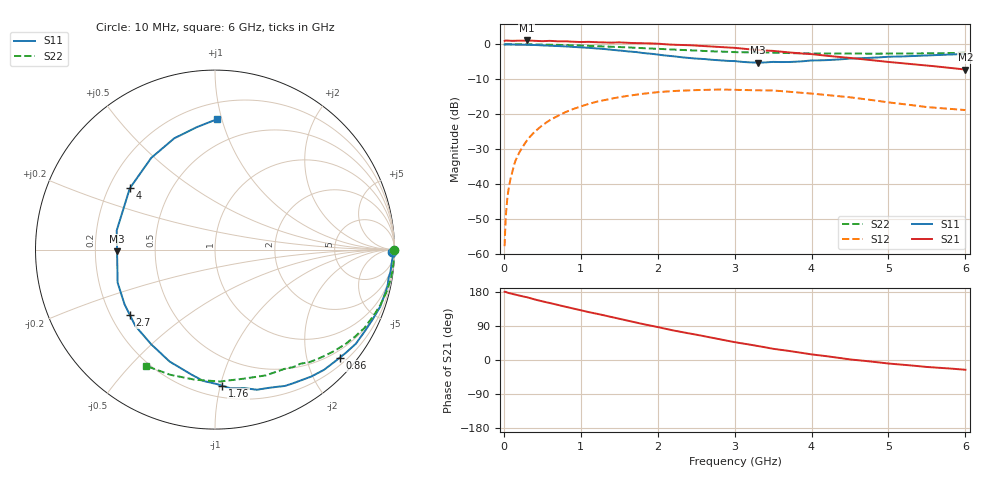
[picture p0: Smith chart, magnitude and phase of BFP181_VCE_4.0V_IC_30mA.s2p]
! Infineon Technologies  Discrete & RF Semiconductors
! BFP181
! VCE = 4.0 V,  IC =  30 mA
! Common Emitter S-Parameters:  Jan 2016
# GHz  S  MA  R  50
!  f  S11  S21  S12  S22
! GHz  MAG  ANG  MAG  ANG  MAG  ANG  MAG  ANG
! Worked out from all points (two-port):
!   210 points, 10 MHz to 6 GHz, reference 50 ohm
!   highest |S21| = 1.05 dB at 300 MHz (marker M1); lowest = -7.3 dB at 6 GHz (marker M2)
!   |S21| within 3 dB of the highest: start of sweep to 3.509 GHz
!   lowest |S11| = -5.3 dB at 3.3 GHz (marker M3), VSWR 3.40, Z = 14.7 - j0.399 ohm
!   |S11| at or under -10 dB: nowhere
!   |S22| runs from -2.7 to 0.0 dB; largest |S21 - S12| = 1.1
!   S11 on the Smith chart (normalised r, x): 10 MHz: open; 860 MHz: 0.34, -2.64; 1.76 GHz: 0.28, -1.01; 2.7 GHz: 0.28, -0.32; 4 GHz: 0.29, +0.30; 6 GHz: 0.31, +0.97
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0.01  0.9874 -0.7  1.116 179.8  0.0013 79.4  0.9998 -0.2
0.02  0.9861 -1.0  1.126 179.9  0.0026 92.1  0.9989 -0.5
0.04  0.9895 -1.9  1.125 178.2  0.0055 90.6  0.9988 -1.0
0.06  0.9902 -2.8  1.123 176.9  0.0083 88.4  0.9987 -1.4
0.085  0.9876 -3.9  1.117 175.7  0.0117 85.6  0.9988 -2.0
0.16  0.9845 -7.6  1.118 172.1  0.0228 83.9  0.9973 -3.8
0.3  0.9781 -14.4  1.129 165.7  0.042 79.2  0.9957 -7.1
0.54  0.9558 -25.7  1.107 152.9  0.0743 70.5  0.986 -12.8
0.86  0.9193 -41.0  1.089 137.7  0.1135 59.4  0.9658 -20.1
1.02  0.9001 -48.9  1.074 130.3  0.1309 54.1  0.9534 -23.5
1.3  0.8539 -62.8  1.061 118.0  0.1585 44.7  0.9289 -29.6
1.5  0.8148 -73.4  1.06 108.9  0.1745 38.7  0.908 -33.6
1.76  0.7595 -87.0  1.033 97.2  0.1925 31.1  0.8816 -38.5
2.02  0.7049 -101.5  1.012 86.0  0.207 23.7  0.8563 -43.1
2.7  0.5983 -142.4  0.922 59.0  0.2231 5.8  0.7902 -54.7
3.1  0.558 -167.0  0.863 43.9  0.2214 -4.0  0.7651 -61.4
3.3  0.5457 -179.0  0.826 37.0  0.2191 -8.3  0.7592 -64.7
4  0.585 144.2  0.72 14.8  0.1968 -21.7  0.7368 -77.5
4.1  0.5869 140.2  0.7 12.4  0.192 -23.0  0.7346 -79.6
4.5  0.6224 124.8  0.636 1.5  0.1741 -28.9  0.7353 -87.9
5.1  0.6641 107.7  0.544 -11.0  0.1431 -31.9  0.7328 -100.9
6  0.7266 89.1  0.434 -25.7  0.1144 -24.9  0.7537 -120.9
